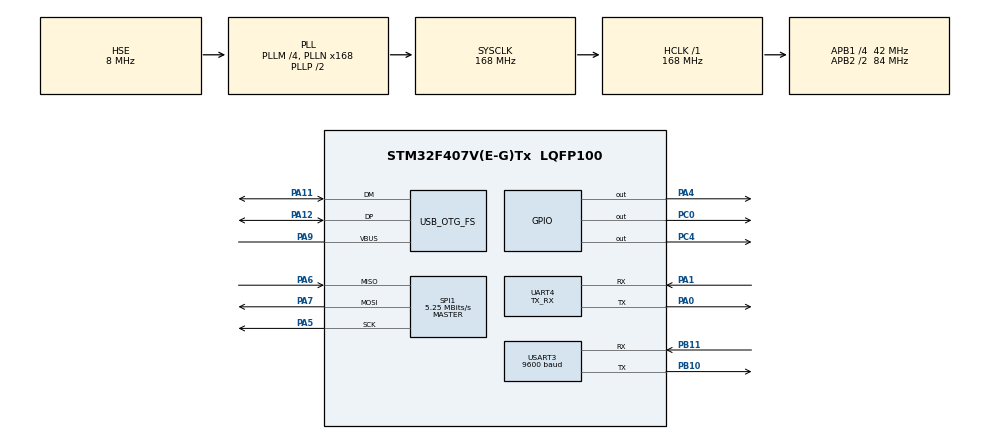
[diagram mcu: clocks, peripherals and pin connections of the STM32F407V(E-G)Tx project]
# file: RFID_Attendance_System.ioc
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Dma.Request0=UART4_TX
Dma.Request1=UART4_RX
Dma.Request2=USART3_RX
Dma.Request3=USART3_TX
Dma.UART4_RX.1.Direction=DMA_PERIPH_TO_MEMORY
Dma.UART4_RX.1.FIFOMode=DMA_FIFOMODE_DISABLE
Dma.UART4_RX.1.Instance=DMA1_Stream2
Dma.UART4_RX.1.MemDataAlignment=DMA_MDATAALIGN_BYTE
Dma.UART4_RX.1.MemInc=DMA_MINC_ENABLE
Dma.UART4_RX.1.Mode=DMA_NORMAL
Dma.UART4_RX.1.PeriphDataAlignment=DMA_PDATAALIGN_BYTE
Dma.UART4_RX.1.PeriphInc=DMA_PINC_DISABLE
Dma.UART4_RX.1.Priority=DMA_PRIORITY_LOW
Dma.UART4_TX.0.Direction=DMA_MEMORY_TO_PERIPH
Dma.UART4_TX.0.FIFOMode=DMA_FIFOMODE_DISABLE
Dma.UART4_TX.0.Instance=DMA1_Stream4
Dma.UART4_TX.0.MemDataAlignment=DMA_MDATAALIGN_BYTE
Dma.UART4_TX.0.MemInc=DMA_MINC_ENABLE
Dma.UART4_TX.0.Mode=DMA_NORMAL
Dma.UART4_TX.0.PeriphDataAlignment=DMA_PDATAALIGN_BYTE
Dma.UART4_TX.0.PeriphInc=DMA_PINC_DISABLE
Dma.UART4_TX.0.Priority=DMA_PRIORITY_LOW
Dma.USART3_RX.2.Direction=DMA_PERIPH_TO_MEMORY
Dma.USART3_RX.2.FIFOMode=DMA_FIFOMODE_DISABLE
Dma.USART3_RX.2.Instance=DMA1_Stream1
Dma.USART3_RX.2.MemDataAlignment=DMA_MDATAALIGN_BYTE
Dma.USART3_RX.2.MemInc=DMA_MINC_ENABLE
Dma.USART3_RX.2.Mode=DMA_NORMAL
Dma.USART3_RX.2.PeriphDataAlignment=DMA_PDATAALIGN_BYTE
Dma.USART3_RX.2.PeriphInc=DMA_PINC_DISABLE
Dma.USART3_RX.2.Priority=DMA_PRIORITY_LOW
Dma.USART3_TX.3.Direction=DMA_MEMORY_TO_PERIPH
Dma.USART3_TX.3.FIFOMode=DMA_FIFOMODE_DISABLE
Dma.USART3_TX.3.Instance=DMA1_Stream3
Dma.USART3_TX.3.MemDataAlignment=DMA_MDATAALIGN_BYTE
Dma.USART3_TX.3.MemInc=DMA_MINC_ENABLE
Dma.USART3_TX.3.Mode=DMA_NORMAL
Dma.USART3_TX.3.PeriphDataAlignment=DMA_PDATAALIGN_BYTE
Dma.USART3_TX.3.PeriphInc=DMA_PINC_DISABLE
Dma.USART3_TX.3.Priority=DMA_PRIORITY_LOW
Mcu.Family=STM32F4
Mcu.Name=STM32F407V(E-G)Tx
Mcu.Package=LQFP100
NVIC.DMA1_Stream1_IRQn=true\:0\:0\:false\:false\:true\:false\:true\:true
NVIC.DMA1_Stream2_IRQn=true\:0\:0\:true\:false\:true\:false\:true\:true
NVIC.DMA1_Stream3_IRQn=true\:0\:0\:false\:false\:true\:false\:true\:true
NVIC.DMA1_Stream4_IRQn=true\:0\:0\:true\:false\:true\:false\:true\:true
NVIC.OTG_FS_IRQn=true\:0\:0\:true\:false\:true\:false\:true\:true
NVIC.PriorityGroup=NVIC_PRIORITYGROUP_4
NVIC.UART4_IRQn=true\:0\:0\:true\:false\:true\:true\:true\:true
NVIC.USART3_IRQn=true\:0\:0\:false\:false\:true\:true\:true\:true
PA0-WKUP.Mode=Asynchronous
PA0-WKUP.Signal=UART4_TX
PA1.Mode=Asynchronous
PA1.Signal=UART4_RX
PA11.Mode=Host_Only
PA11.Signal=USB_OTG_FS_DM
PA12.Mode=Host_Only
PA12.Signal=USB_OTG_FS_DP
PA4.Signal=GPIO_Output
PA5.Mode=Full_Duplex_Master
PA5.Signal=SPI1_SCK
PA6.Mode=Full_Duplex_Master
PA6.Signal=SPI1_MISO
PA7.Mode=Full_Duplex_Master
PA7.Signal=SPI1_MOSI
PA9.Mode=Activate_VBUS
PA9.Signal=USB_OTG_FS_VBUS
PB10.Mode=Asynchronous
PB10.Signal=USART3_TX
PB11.Mode=Asynchronous
PB11.Signal=USART3_RX
PC0.PinState=GPIO_PIN_RESET
PC0.Signal=GPIO_Output
PC4.Signal=GPIO_Output
PH0-OSC_IN.Mode=HSE-External-Oscillator
PH0-OSC_IN.Signal=RCC_OSC_IN
PH1-OSC_OUT.Mode=HSE-External-Oscillator
PH1-OSC_OUT.Signal=RCC_OSC_OUT
ProjectManager.HeapSize=0x200
ProjectManager.StackSize=0x400
ProjectManager.TargetToolchain=STM32CubeIDE
RCC.48MHZClocksFreq_Value=48000000
RCC.AHBFreq_Value=168000000
RCC.APB1CLKDivider=RCC_HCLK_DIV4
RCC.APB1Freq_Value=42000000
RCC.APB1TimFreq_Value=84000000
RCC.APB2CLKDivider=RCC_HCLK_DIV2
RCC.APB2Freq_Value=84000000
RCC.APB2TimFreq_Value=168000000
RCC.CortexFreq_Value=168000000
RCC.HCLKFreq_Value=168000000
RCC.HSE_VALUE=8000000
RCC.HSI_VALUE=16000000
RCC.LSE_VALUE=32768
RCC.PLLM=4
RCC.PLLN=168
RCC.PLLQ=7
RCC.SYSCLKFreq_VALUE=168000000
RCC.SYSCLKSource=RCC_SYSCLKSOURCE_PLLCLK
RCC.VCOOutputFreq_Value=336000000
SPI1.BaudRatePrescaler=SPI_BAUDRATEPRESCALER_16
SPI1.CalculateBaudRate=5.25 MBits/s
SPI1.Direction=SPI_DIRECTION_2LINES
SPI1.Mode=SPI_MODE_MASTER
SPI1.VirtualType=VM_MASTER
UART4.Mode=MODE_TX_RX
UART4.VirtualMode=Asynchronous
USART3.BaudRate=9600
USART3.VirtualMode=VM_ASYNC
USB_HOST.BSP.number=1
USB_HOST.USBH_HandleTypeDef-HID_FS=hUsbHostFS
USB_HOST.USBH_USE_OS-HID_FS=0
USB_HOST.VirtualModeFS=Hid
USB_HOST0.BSP.STBoard=false
USB_HOST0.BSP.api=Unknown
USB_HOST0.BSP.condition=SW_VBUS_DRIVE_HID_FS \= false
USB_HOST0.BSP.instance=PC0
USB_HOST0.BSP.ip=GPIO
USB_HOST0.BSP.mode=Output
USB_HOST0.BSP.name=Drive_VBUS_FS
USB_HOST0.BSP.solution=PC0
USB_OTG_FS.VirtualMode=Host_Only
USB_OTG_FS.phy_itface=HCD_PHY_EMBEDDED
VP_USB_HOST_VS_USB_HOST_HID_FS.Mode=HID_FS
board=custom

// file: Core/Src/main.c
/* USER CODE BEGIN Header */
/**
  ******************************************************************************
  * @file           : main.c
  * @brief          : Main program body
  ******************************************************************************
  * @attention
  *
  * Copyright (c) 2024 STMicroelectronics.
  * All rights reserved.
  *
  * This software is licensed under terms that can be found in the LICENSE file
  * in the root directory of this software component.
  * If no LICENSE file comes with this software, it is provided AS-IS.
  *
  ******************************************************************************
  */
/* USER CODE END Header */
#include "main.h"
#include "usb_host.h"

/* USER CODE BEGIN Includes */
#include "usbh_hid.h"
#include "string.h"
#include "rcc522.h"
#include "stdio.h"
#include "stdbool.h"
/* USER CODE END Includes */

/* USER CODE BEGIN PTD */
typedef enum
{
	NONE,
	NAME,
	SURNAME,
	TEL_NUMBER
}Durum;

typedef struct{
	char name[15];
	char surname[15];
	char id[5];
	char telephone[11];
	bool presence;
}Student;

typedef enum
{
	NoNE,
	Create,
	Scan
}Button;

typedef enum {
	USB_WORKING,
	USB_NOT_WORKING
}USB;

typedef enum {
	None,
	Attendance_On,
	Attendance_Off
}Attendance;

typedef enum {
	NOTHING,
	AT_COMMAND,
	SET_TEXT_MODE_COMMAND
}GSM_Callbacks;

/* USER CODE END PTD */

SPI_HandleTypeDef hspi1;

UART_HandleTypeDef huart4;
UART_HandleTypeDef huart3;
DMA_HandleTypeDef hdma_uart4_tx;
DMA_HandleTypeDef hdma_uart4_rx;
DMA_HandleTypeDef hdma_usart3_rx;
DMA_HandleTypeDef hdma_usart3_tx;

void SystemClock_Config(void);
static void MX_GPIO_Init(void);
static void MX_DMA_Init(void);
static void MX_UART4_Init(void);
static void MX_SPI1_Init(void);
static void MX_USART3_UART_Init(void);
void MX_USB_HOST_Process(void);

/* USER CODE BEGIN PFP */
char buffer[50];
uint8_t rf_test = 0;
char character;
char first[17];
char last[1] = "\"";
char keybord_buffer[15];
uint8_t keyboard_indis = 0;
uint8_t t_buffer[25] = {0};
uint8_t temp_buffer[25] = {0};
Durum durum = NONE;
Student students[5];
uint8_t number_of_students = 0;
Student student;
uint8_t status;
uint8_t CardID[5];
extern USBH_HandleTypeDef hUsbHostFS;
Button button = 0;
USB usb_status;
uint8_t time;
Attendance attendance_status;
uint8_t rfid[31] = {0};
uint8_t dataRecord[100];
uint8_t gsm_receive_buffer[50];
uint8_t at_command[] = "AT\n";
uint8_t set_text_mode[]   = "AT+CMGF=1\n";
uint8_t sms_template_beginning[] = "AT+CMGS=\"+90";
GSM_Callbacks gsm_callback;
/* USER CODE END PFP */

/* USER CODE BEGIN 0 */

void USBH_HID_EventCallback(USBH_HandleTypeDef *phost)
{
  if(USBH_HID_GetDeviceType(phost) == HID_KEYBOARD)
  {
	  HID_KEYBD_Info_TypeDef *keyboard;
	  keyboard = USBH_HID_GetKeybdInfo(phost);
	  character = USBH_HID_GetASCIICode(keyboard);
	  if(character != 0)
	  {
		  uint8_t total = 8;
		  keybord_buffer[keyboard_indis] = character;
		  strcat(temp_buffer,first);
		  strcat(temp_buffer,keybord_buffer);
		  keyboard_indis++;
		  total += keyboard_indis;
		  strcat(temp_buffer,last);
		  total++;
		  temp_buffer[total] = 0xFF;
		  temp_buffer[total + 1] = 0xFF;
		  temp_buffer[total + 2] = 0xFF;
		  total += 3;
		  memcpy(t_buffer,temp_buffer,strlen(temp_buffer));
		  memset(temp_buffer,0,strlen(temp_buffer));
		  HAL_UART_Transmit_DMA(&huart4, t_buffer, total);
	  }
  }
}

void HAL_UARTEx_RxEventCallback(UART_HandleTypeDef *huart, uint16_t Size)
{

	if(huart->Instance == USART3)
	{
		switch(gsm_callback)
		{
		case NOTHING:
			break;
		case AT_COMMAND:
			gsm_callback = SET_TEXT_MODE_COMMAND;
			HAL_UART_Transmit_DMA(&huart3, set_text_mode, 10);
			break;
		case SET_TEXT_MODE_COMMAND:
			break;
		}

		 memset(buffer,0,strlen(gsm_receive_buffer));
	     HAL_UARTEx_ReceiveToIdle_DMA(&huart3, gsm_receive_buffer, 50);
		 __HAL_DMA_DISABLE_IT(&hdma_usart3_rx, DMA_IT_HT);

	}

	else if(huart->Instance == UART4)
	{
			switch(durum)
			{
			case NAME:
				memset(student.name,0,strlen(student.name));
				strcpy(student.name,keybord_buffer);
				break;
			case SURNAME:
				memset(student.surname,0,strlen(student.surname));
				strcpy(student.surname,keybord_buffer);
				break;
			case TEL_NUMBER:
					memset(student.telephone,0,strlen(student.telephone));
					strcpy(student.telephone,keybord_buffer);
					break;
			}

			if(strcmp(buffer,"name") == 0)
			{
				memset(student.name,0,strlen(student.name));
				memset(first,0,strlen(first));
				strcpy(first,"t4.txt=\"");
				memset(keybord_buffer,0,strlen(keybord_buffer));
				keyboard_indis = 0;
				durum = NAME;
			}
			else if(strcmp(buffer,"surname") == 0)
			{
				memset(student.surname,0,strlen(student.surname));
				memset(first,0,strlen(first));
				strcpy(first,"t5.txt=\"");
				memset(keybord_buffer,0,strlen(keybord_buffer));
				keyboard_indis = 0;
				durum = SURNAME;
			}
			else if(strcmp(buffer,"Tel Number") == 0)
			{
				memset(student.telephone,0,strlen(student.telephone));
				memset(first,0,strlen(first));
				strcpy(first,"t6.txt=\"");
				memset(keybord_buffer,0,strlen(keybord_buffer));
				keyboard_indis = 0;
				durum = TEL_NUMBER;
			}
			else if(strcmp(buffer,"Create") == 0)
			{
				button = Create;
			}
			else if(strcmp(buffer,"Scan") == 0)
			{
				button = Scan;
			}

			else if(strcmp(buffer,"Start Attendance") == 0)
			{
				attendance_status = Attendance_On;
			}

			else if(strcmp(buffer,"Stop Attendance") == 0)
			{
				attendance_status = Attendance_Off;
			}
			memset(buffer,0,strlen(buffer));
			HAL_UARTEx_ReceiveToIdle_DMA(&huart4, buffer, 50);
			__HAL_DMA_DISABLE_IT(&hdma_uart4_rx, DMA_IT_HT);
	}

}

/* USER CODE END 0 */

int main(void)
{

  /* MCU Configuration--------------------------------------------------------*/

  /* Reset of all peripherals, Initializes the Flash interface and the Systick. */
  HAL_Init();

  /* Configure the system clock */
  SystemClock_Config();

  /* Initialize all configured peripherals */
  MX_GPIO_Init();
  MX_DMA_Init();
//  MX_USB_HOST_Init();
  MX_UART4_Init();
  MX_SPI1_Init();
  MX_USART3_UART_Init();
  /* USER CODE BEGIN 2 */
  HAL_UARTEx_ReceiveToIdle_DMA(&huart4, buffer, 50);
  __HAL_DMA_DISABLE_IT(&hdma_uart4_rx, DMA_IT_HT);

  HAL_UARTEx_ReceiveToIdle_DMA(&huart3, gsm_receive_buffer, 50);
  __HAL_DMA_DISABLE_IT(&hdma_usart3_rx, DMA_IT_HT);

 gsm_callback = AT_COMMAND;
 HAL_UART_Transmit_DMA(&huart3, at_command, 3);
 MFRC522_Init();
 MX_USB_HOST_Init();

  /* USER CODE END 2 */

  /* Infinite loop */
  while (1)
  {
    MX_USB_HOST_Process();

    /* USER CODE BEGIN 3 */
    if(button == Scan)
    {
    	if(usb_status == USB_WORKING)
    	{
    		USBH_Stop(&hUsbHostFS);
    		usb_status = USB_NOT_WORKING;
    	}

        status = MFRC522_Request(PICC_REQIDL, CardID);	//MFRC522_Request(0x26, str)
    	status = MFRC522_Anticoll(CardID);//Take a collision, look up 5 bytes
    	    if (status == MI_OK)
    		  {
    	    	rf_test = 1;
    	    	student.id[0] = CardID[0];
    	    	student.id[1] = CardID[1];
    	    	student.id[2] = CardID[2];
    	    	student.id[3] = CardID[3];
    	    	student.id[4] = CardID[4];

    	        sprintf(rfid,"t7.txt=\"%03d-%03d-%03d-%03d-%03d\"",student.id[0],student.id[1],student.id[2],student.id[3],student.id[4]);

    	    	rfid[28] = 0xFF;
    	    	rfid[29] = 0xFF;
    	    	rfid[30] = 0xFF;

    	    	HAL_UART_Transmit_DMA(&huart4, rfid, 31);
    	    	button = NoNE;
    		  }

    }

    else if(button == Create)
    {
    	if(usb_status == USB_NOT_WORKING)
    	{
    		memcpy(students[number_of_students].name,student.name,strlen(student.name));
    		memcpy(students[number_of_students].surname,student.surname,strlen(student.surname));
    		memcpy(students[number_of_students].telephone,student.telephone,strlen(student.telephone));
    		memcpy(students[number_of_students].id,student.id,strlen(student.id));
    		number_of_students++;
    		USBH_Start(&hUsbHostFS);
    		usb_status = USB_WORKING;
    		button = NoNE;
    	}

    }

    if(attendance_status == Attendance_On)
    {

    	if(usb_status == USB_WORKING)
    	{
    		USBH_Stop(&hUsbHostFS);
    		usb_status = USB_NOT_WORKING;
    	}

        status = MFRC522_Request(PICC_REQIDL, CardID);	//MFRC522_Request(0x26, str)
    	status = MFRC522_Anticoll(CardID);//Take a collision, look up 5 bytes
    	if (status == MI_OK)
     {

    		for(uint8_t i = 0 ; i < number_of_students ; i++)
    		{
    			if(students[i].id[0] == CardID[0] && students[i].id[1] == CardID[1] && students[i].id[2] == CardID[2] && students[i].id[3] == CardID[3] && students[i].id[4] == CardID[4])
    				{
    				if(!students[i].presence)
    				{
    					uint8_t strLen = 0;
        				students[i].presence = true;
        				sprintf(dataRecord,"data0.insert(\"%s^%s^%03d-%03d-%03d-%03d-%03d\")",students[i].name,students[i].surname,students[i].id[0],students[i].id[1],students[i].id[2],students[i].id[3],students[i].id[4]);
        				strLen = strlen(dataRecord);
        				dataRecord[strLen]     = 0xFF;
        				dataRecord[strLen + 1] = 0xFF;
        				dataRecord[strLen + 2] = 0xFF;
        				HAL_UART_Transmit_DMA(&huart4, dataRecord, (strLen + 3));
    				}

    				}
    		}
     }

    }

    if(attendance_status == Attendance_Off)
    {
    	for(uint8_t i = 0 ; i < number_of_students ; i++)
    	{
    		if(!students[i].presence)
    		{
    			uint8_t attendance_message[80] = {0};
    			uint8_t send_sms[150] = {0};
    			strcpy(send_sms,sms_template_beginning);
    			strcat(send_sms,students[i].telephone);
    			strcat(send_sms,"\"\n");
    			sprintf(attendance_message,"%s %s did not come to class today. Regards ...",students[i].name,students[i].surname);
    			strcat(send_sms,attendance_message);
    			uint8_t strLen = strlen(send_sms);
    			send_sms[strLen] = 0x1A;
    			HAL_UART_Transmit(&huart3, send_sms, (strLen + 1), 100);
    			HAL_Delay(5000);
    		}
    	}

    	attendance_status = None;

    }

  }
  /* USER CODE END 3 */
}

void SystemClock_Config(void)
{
  RCC_OscInitTypeDef RCC_OscInitStruct = {0};
  RCC_ClkInitTypeDef RCC_ClkInitStruct = {0};

  /** Configure the main internal regulator output voltage
  */
  __HAL_RCC_PWR_CLK_ENABLE();
  __HAL_PWR_VOLTAGESCALING_CONFIG(PWR_REGULATOR_VOLTAGE_SCALE1);

  /** Initializes the RCC Oscillators according to the specified parameters
  * in the RCC_OscInitTypeDef structure.
  */
  RCC_OscInitStruct.OscillatorType = RCC_OSCILLATORTYPE_HSE;
  RCC_OscInitStruct.HSEState = RCC_HSE_ON;
  RCC_OscInitStruct.PLL.PLLState = RCC_PLL_ON;
  RCC_OscInitStruct.PLL.PLLSource = RCC_PLLSOURCE_HSE;
  RCC_OscInitStruct.PLL.PLLM = 4;
  RCC_OscInitStruct.PLL.PLLN = 168;
  RCC_OscInitStruct.PLL.PLLP = RCC_PLLP_DIV2;
  RCC_OscInitStruct.PLL.PLLQ = 7;
  if (HAL_RCC_OscConfig(&RCC_OscInitStruct) != HAL_OK)
  {
    Error_Handler();
  }

  /** Initializes the CPU, AHB and APB buses clocks
  */
  RCC_ClkInitStruct.ClockType = RCC_CLOCKTYPE_HCLK|RCC_CLOCKTYPE_SYSCLK
                              |RCC_CLOCKTYPE_PCLK1|RCC_CLOCKTYPE_PCLK2;
  RCC_ClkInitStruct.SYSCLKSource = RCC_SYSCLKSOURCE_PLLCLK;
  RCC_ClkInitStruct.AHBCLKDivider = RCC_SYSCLK_DIV1;
  RCC_ClkInitStruct.APB1CLKDivider = RCC_HCLK_DIV4;
  RCC_ClkInitStruct.APB2CLKDivider = RCC_HCLK_DIV2;

  if (HAL_RCC_ClockConfig(&RCC_ClkInitStruct, FLASH_LATENCY_5) != HAL_OK)
  {
    Error_Handler();
  }
}

static void MX_SPI1_Init(void)
{

  /* SPI1 parameter configuration*/
  hspi1.Instance = SPI1;
  hspi1.Init.Mode = SPI_MODE_MASTER;
  hspi1.Init.Direction = SPI_DIRECTION_2LINES;
  hspi1.Init.DataSize = SPI_DATASIZE_8BIT;
  hspi1.Init.CLKPolarity = SPI_POLARITY_LOW;
  hspi1.Init.CLKPhase = SPI_PHASE_1EDGE;
  hspi1.Init.NSS = SPI_NSS_SOFT;
  hspi1.Init.BaudRatePrescaler = SPI_BAUDRATEPRESCALER_16;
  hspi1.Init.FirstBit = SPI_FIRSTBIT_MSB;
  hspi1.Init.TIMode = SPI_TIMODE_DISABLE;
  hspi1.Init.CRCCalculation = SPI_CRCCALCULATION_DISABLE;
  hspi1.Init.CRCPolynomial = 10;
  if (HAL_SPI_Init(&hspi1) != HAL_OK)
  {
    Error_Handler();
  }

}

static void MX_UART4_Init(void)
{

  huart4.Instance = UART4;
  huart4.Init.BaudRate = 115200;
  huart4.Init.WordLength = UART_WORDLENGTH_8B;
  huart4.Init.StopBits = UART_STOPBITS_1;
  huart4.Init.Parity = UART_PARITY_NONE;
  huart4.Init.Mode = UART_MODE_TX_RX;
  huart4.Init.HwFlowCtl = UART_HWCONTROL_NONE;
  huart4.Init.OverSampling = UART_OVERSAMPLING_16;
  if (HAL_UART_Init(&huart4) != HAL_OK)
  {
    Error_Handler();
  }

}

static void MX_USART3_UART_Init(void)
{

  huart3.Instance = USART3;
  huart3.Init.BaudRate = 9600;
  huart3.Init.WordLength = UART_WORDLENGTH_8B;
  huart3.Init.StopBits = UART_STOPBITS_1;
  huart3.Init.Parity = UART_PARITY_NONE;
  huart3.Init.Mode = UART_MODE_TX_RX;
  huart3.Init.HwFlowCtl = UART_HWCONTROL_NONE;
  huart3.Init.OverSampling = UART_OVERSAMPLING_16;
  if (HAL_UART_Init(&huart3) != HAL_OK)
  {
    Error_Handler();
  }

}

static void MX_DMA_Init(void)
{

  /* DMA controller clock enable */
  __HAL_RCC_DMA1_CLK_ENABLE();

  /* DMA interrupt init */
  /* DMA1_Stream1_IRQn interrupt configuration */
  HAL_NVIC_SetPriority(DMA1_Stream1_IRQn, 0, 0);
  HAL_NVIC_EnableIRQ(DMA1_Stream1_IRQn);
  /* DMA1_Stream2_IRQn interrupt configuration */
  HAL_NVIC_SetPriority(DMA1_Stream2_IRQn, 0, 0);
  HAL_NVIC_EnableIRQ(DMA1_Stream2_IRQn);
  /* DMA1_Stream3_IRQn interrupt configuration */
  HAL_NVIC_SetPriority(DMA1_Stream3_IRQn, 0, 0);
  HAL_NVIC_EnableIRQ(DMA1_Stream3_IRQn);
  /* DMA1_Stream4_IRQn interrupt configuration */
  HAL_NVIC_SetPriority(DMA1_Stream4_IRQn, 0, 0);
  HAL_NVIC_EnableIRQ(DMA1_Stream4_IRQn);

}

static void MX_GPIO_Init(void)
{
  GPIO_InitTypeDef GPIO_InitStruct = {0};

  /* GPIO Ports Clock Enable */
  __HAL_RCC_GPIOH_CLK_ENABLE();
  __HAL_RCC_GPIOC_CLK_ENABLE();
  __HAL_RCC_GPIOA_CLK_ENABLE();
  __HAL_RCC_GPIOB_CLK_ENABLE();

  /*Configure GPIO pin Output Level */
  HAL_GPIO_WritePin(GPIOC, GPIO_PIN_0|GPIO_PIN_4, GPIO_PIN_RESET);

  /*Configure GPIO pin Output Level */
  HAL_GPIO_WritePin(GPIOA, GPIO_PIN_4, GPIO_PIN_RESET);

  /*Configure GPIO pins : PC0 PC4 */
  GPIO_InitStruct.Pin = GPIO_PIN_0|GPIO_PIN_4;
  GPIO_InitStruct.Mode = GPIO_MODE_OUTPUT_PP;
  GPIO_InitStruct.Pull = GPIO_NOPULL;
  GPIO_InitStruct.Speed = GPIO_SPEED_FREQ_LOW;
  HAL_GPIO_Init(GPIOC, &GPIO_InitStruct);

  /*Configure GPIO pin : PA4 */
  GPIO_InitStruct.Pin = GPIO_PIN_4;
  GPIO_InitStruct.Mode = GPIO_MODE_OUTPUT_PP;
  GPIO_InitStruct.Pull = GPIO_NOPULL;
  GPIO_InitStruct.Speed = GPIO_SPEED_FREQ_LOW;
  HAL_GPIO_Init(GPIOA, &GPIO_InitStruct);

}

void Error_Handler(void)
{
  __disable_irq();
  while (1)
  {
  }
}
